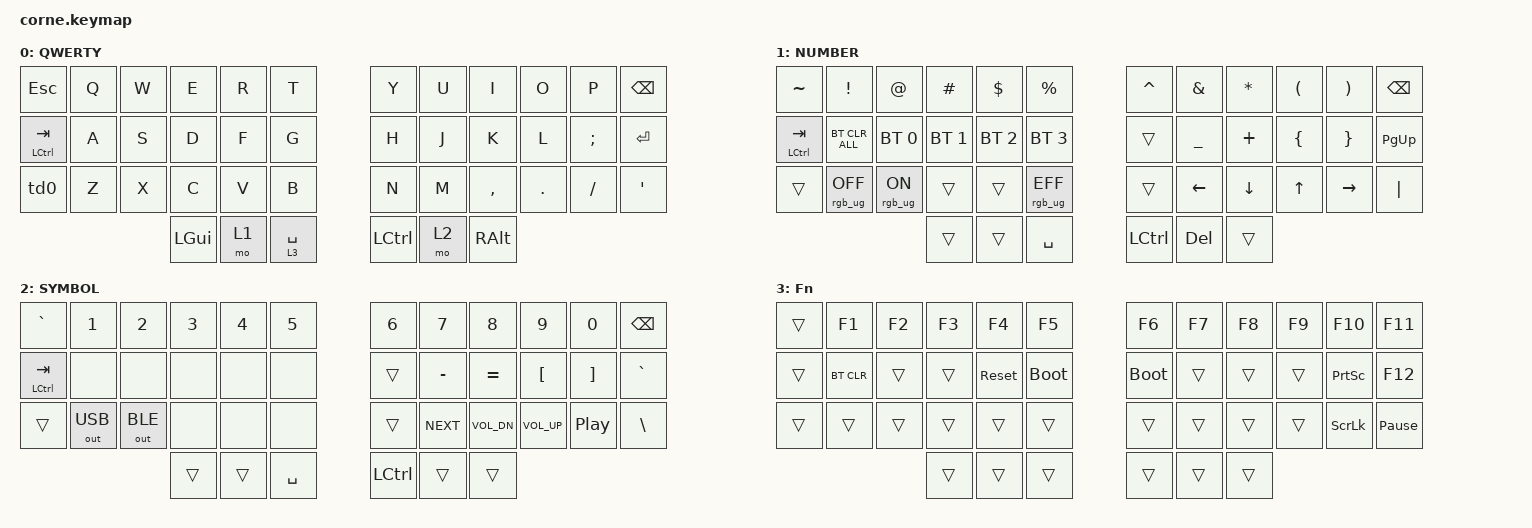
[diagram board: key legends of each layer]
/*
 * Copyright (c) 2020 The ZMK Contributors
 *
 * SPDX-License-Identifier: MIT
 */

#include <behaviors.dtsi>
#include <dt-bindings/zmk/bt.h>
#include <dt-bindings/zmk/keys.h>
#include <dt-bindings/zmk/outputs.h>
#include <dt-bindings/zmk/rgb.h>

/ {
    chosen {
        zmk,matrix_transform = &default_transform;

        // zmk,matrix_transform = &five_column_transform;
    };
};

/ {
    behaviors {
        td0: td0 {
            compatible = "zmk,behavior-tap-dance";
            label = "TD0";
            #binding-cells = <0>;
            bindings = <&kp LEFT_SHIFT>, <&kp CAPS>;
        };

        ht: ht {
            compatible = "zmk,behavior-hold-tap";
            label = "HT";
            bindings = <&kp>, <&kp>;

            #binding-cells = <2>;
            tapping-term-ms = <200>;
        };
    };

    keymap {
        compatible = "zmk,keymap";

        default_layer {
            display-name = "QWERTY";

            // --------------------------------------------------------------------------------
            // |  TAB |  Q  |  W  |  E  |  R  |  T  |   |  Y  |  U   |  I  |  O  |  P  | BKSP |
            // | CTRL |  A  |  S  |  D  |  F  |  G  |   |  H  |  J   |  K  |  L  |  ;  |  '   | 
            // | SHFT |  Z  |  X  |  C  |  V  |  B  |   |  N  |  M   |  ,  |  .  |  /  | ESC  |
            //                    | GUI | LWR | SPC |   | ENT | RSE  | ALT |

            bindings = <
&kp ESCAPE     &kp Q  &kp W  &kp E     &kp R  &kp T          &kp Y      &kp U  &kp I      &kp O    &kp P     &kp BSPC
&ht LCTRL TAB  &kp A  &kp S  &kp D     &kp F  &kp G          &kp H      &kp J  &kp K      &kp L    &kp SEMI  &kp ENTER
&td0           &kp Z  &kp X  &kp C     &kp V  &kp B          &kp N      &kp M  &kp COMMA  &kp DOT  &kp FSLH  &kp APOS
                             &kp LGUI  &mo 1  &lt 3 SPACE    &kp LCTRL  &mo 2  &kp RALT
            >;
        };

        lower_layer {
            display-name = "NUMBER";

            // -----------------------------------------------------------------------------------------
            // |  TAB |  1  |  2  |  3  |  4  |  5  |   |  6  |  7  |  8  |  9  |  0  | BKSP |
            // | BTCLR| BT1 | BT2 | BT3 | BT4 | BT5 |   | LFT | DWN |  UP | RGT |     |      |
            // | SHFT |     |     |     |     |     |   |     |     |     |     |     |      |
            //                    | GUI |     | SPC |   | ENT |     | ALT |

            bindings = <
&kp TILDE      &kp EXCLAMATION  &kp AT_SIGN     &kp HASH      &kp DOLLAR    &kp PERCENT        &kp CARET  &kp AMPERSAND   &kp ASTERISK  &kp LEFT_PARENTHESIS  &kp RIGHT_PARENTHESIS  &kp BSPC
&ht LCTRL TAB  &bt BT_CLR_ALL   &bt BT_SEL 0    &bt BT_SEL 1  &bt BT_SEL 2  &bt BT_SEL 3       &trans     &kp UNDERSCORE  &kp PLUS      &kp LEFT_BRACE        &kp RIGHT_BRACE        &kp PG_UP
&trans         &rgb_ug RGB_OFF  &rgb_ug RGB_ON  &trans        &trans        &rgb_ug RGB_EFF    &trans     &kp LEFT        &kp DOWN      &kp UP_ARROW          &kp RIGHT              &kp PIPE
                                                &trans        &trans        &kp SPACE          &kp LCTRL  &kp DEL         &trans
            >;
        };

        raise_layer {
            display-name = "SYMBOL";

            // -----------------------------------------------------------------------------------------
            // |  TAB |  !  |  @  |  #  |  $  |  %  |   |  ^  |  &  |  *  |  (  |  )  | BKSP |
            // | CTRL |     |     |     |     |     |   |  -  |  =  |  [  |  ]  |  \  |  `   |
            // | SHFT |     |     |     |     |     |   |  _  |  +  |  {  |  }  | "|" |  ~   |
            //                    | GUI |     | SPC |   | ENT |     | ALT |

            bindings = <
&kp GRAVE      &kp NUMBER_1  &kp NUMBER_2  &kp NUMBER_3  &kp NUMBER_4  &kp N5       &kp NUMBER_6  &kp N7      &kp N8        &kp N9            &kp N0             &kp BSPC
&ht LCTRL TAB  &none         &none         &none         &none         &none        &trans        &kp MINUS   &kp EQUAL     &kp LEFT_BRACKET  &kp RIGHT_BRACKET  &kp GRAVE
&trans         &out OUT_USB  &out OUT_BLE  &none         &none         &none        &trans        &kp C_NEXT  &kp C_VOL_DN  &kp C_VOLUME_UP   &kp C_PLAY_PAUSE   &kp BACKSLASH
                                           &trans        &trans        &kp SPACE    &kp LCTRL     &trans      &trans
            >;
        };

        layer_3 {
            display-name = "Fn";
            bindings = <
&trans  &kp F1      &kp F2  &kp F3  &kp F4      &kp F5         &kp F6       &kp F7  &kp F8  &kp F9  &kp F10          &kp F11
&trans  &bt BT_CLR  &trans  &trans  &sys_reset  &bootloader    &bootloader  &trans  &trans  &trans  &kp PRINTSCREEN  &kp F12
&trans  &trans      &trans  &trans  &trans      &trans         &trans       &trans  &trans  &trans  &kp SCROLLLOCK   &kp PAUSE_BREAK
                            &trans  &trans      &trans         &trans       &trans  &trans
            >;
        };
    };
};
